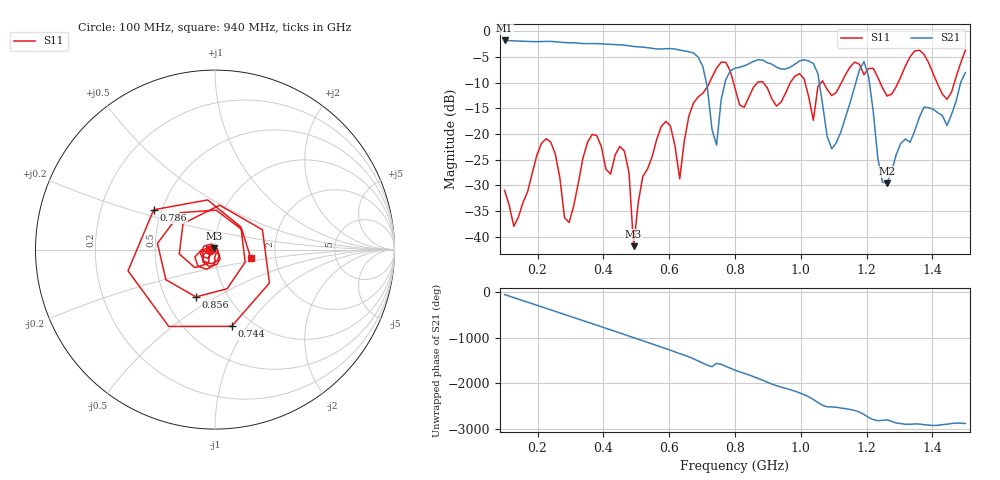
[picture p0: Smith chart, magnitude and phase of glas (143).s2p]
! NanoVNA-App
! Date: 2025-09-25 15:56:35
! Start: 100MHz Stop: 1,5GHz Points: 101
! S-Parameter data: F S11 S21 S12 S22
# Hz S RI R 50
!  Frequency  S11_Real  S11_Imag  S21_Real  S21_Imag  S12_Real  S12_Imag  S22_Real  S22_Imag
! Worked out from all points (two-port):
!   101 points, 100 MHz to 1.5 GHz, reference 50 ohm
!   highest |S21| = -1.80 dB at 100 MHz (marker M1); lowest = -29.5 dB at 1.262 GHz (marker M2)
!   |S21| within 3 dB of the highest: start of sweep to 684.1 MHz
!   lowest |S11| = -41.8 dB at 492 MHz (marker M3), VSWR 1.02, Z = 49.5 + j0.611 ohm
!   |S11| at or under -10 dB: start of sweep to 722.4 MHz; 795.4 MHz to 868.3 MHz (72.87 MHz wide, 8.76 % of centre); 886 MHz to 968 MHz (81.94 MHz wide, 8.84 % of centre) (the widest 3 of 7)
!   S12 and S22 are empty: the file has one direction only
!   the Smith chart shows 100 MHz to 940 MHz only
!   S11 on the Smith chart (normalised r, x): 100 MHz: 0.95, -0.01; 744 MHz: 0.80, -0.85; 786 MHz: 0.45, +0.24; 856 MHz: 0.71, -0.41; 940 MHz: 1.49, -0.15
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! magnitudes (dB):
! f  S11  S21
! 100 MHz  -31.0  -1.8
! 128 MHz  -37.9  -1.9
! 226 MHz  -20.9  -2.0
! 296 MHz  -37.2  -2.2
! 338 MHz  -24.7  -2.4
! 464 MHz  -23.3  -2.7
! 492 MHz  -41.8  -3.0
! 576 MHz  -18.5  -3.5
! 632 MHz  -28.7  -3.7
! 702 MHz  -12.1  -6.8
! 744 MHz  -7.2  -22.2
! 786 MHz  -7.8  -7.7
! 800 MHz  -11.1  -7.2
! 856 MHz  -10.9  -5.9
! 940 MHz  -13.8  -7.4
! 996 MHz  -8.3  -5.8
! 1.038 GHz  -17.3  -6.3
! 1.094 GHz  -12.5  -22.9
! 1.192 GHz  -8.5  -5.9
! 1.262 GHz  -12.6  -29.5
! 1.276 GHz  -12.2  -27.2
! 1.5 GHz  -3.7  -8.1
